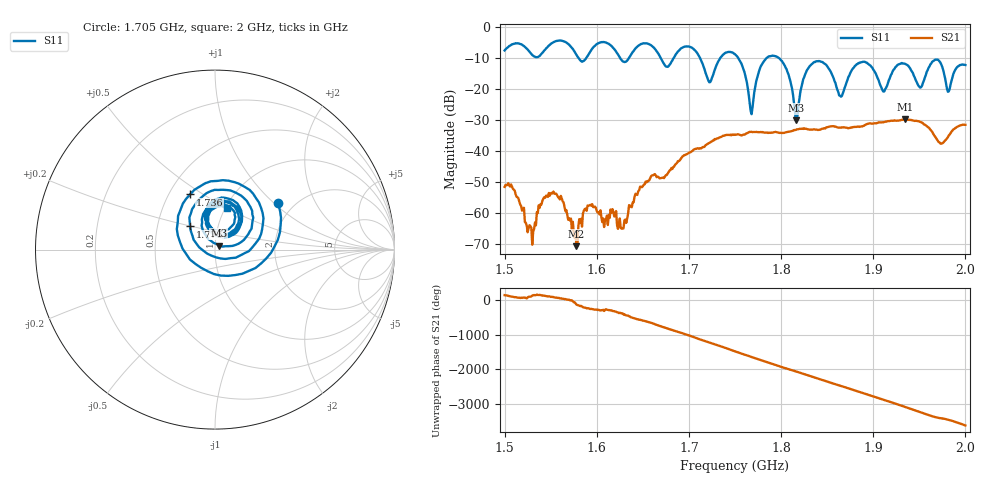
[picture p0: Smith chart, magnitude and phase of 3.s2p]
! NanoVNA-App by SYSJOINT et al v1.1.209 (+OD18)
! Date: 2026-01-21 14:50:11
! Start: 1,5GHz Stop: 2GHz Points: 501
! S-Parameter data: F S11 S21 S12 S22
# Hz S RI R 50
!  Frequency  S11_Real  S11_Imag  S21_Real  S21_Imag  S12_Real  S12_Imag  S22_Real  S22_Imag
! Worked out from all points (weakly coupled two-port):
!   501 points, 1.5 GHz to 2 GHz, reference 50 ohm
!   highest |S21| = -29.92 dB at 1.935 GHz (marker M1); lowest = -70.8 dB at 1.578 GHz (marker M2)
!   lowest |S11| = -30.2 dB at 1.816 GHz (marker M3), VSWR 1.06, Z = 52.1 + j2.37 ohm
!   |S11| at or under -10 dB: 1.712 GHz to 1.734 GHz (22.4 MHz wide, 1.3 % of centre); 1.753 GHz to 1.785 GHz (31.49 MHz wide, 1.78 % of centre); 1.797 GHz to end of sweep (the widest 3 of 6)
!   S12 and S22 are empty: the file has one direction only
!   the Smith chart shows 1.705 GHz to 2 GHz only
!   S11 on the Smith chart (normalised r, x): 1.705 GHz: 1.65, +1.07; 1.736 GHz: 0.64, +0.44; 1.776 GHz: 0.73, +0.20; 2 GHz: 1.02, +0.50
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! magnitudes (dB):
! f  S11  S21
! 1.5 GHz  -7.7  -51.6
! 1.53 GHz  -9.1  -70.3
! 1.555 GHz  -4.8  -53.9
! 1.578 GHz  -9.1  -70.8
! 1.584 GHz  -11.3  -64.4
! 1.628 GHz  -11.2  -65.1
! 1.667 GHz  -8.8  -48.5
! 1.705 GHz  -7.2  -39.7
! 1.722 GHz  -17.9  -37.5
! 1.736 GHz  -9.4  -35.4
! 1.75 GHz  -8.9  -34.9
! 1.768 GHz  -28.2  -33.9
! 1.776 GHz  -14.4  -34.0
! 1.8 GHz  -10.9  -34.2
! 1.816 GHz  -30.2  -33.3
! 1.834 GHz  -11.9  -33.2
! 1.865 GHz  -22.6  -32.6
! 1.886 GHz  -11.5  -32.2
! 1.917 GHz  -17.3  -30.5
! 1.935 GHz  -12.1  -29.9
! 1.982 GHz  -20.9  -35.1
! 2 GHz  -12.4  -31.6
